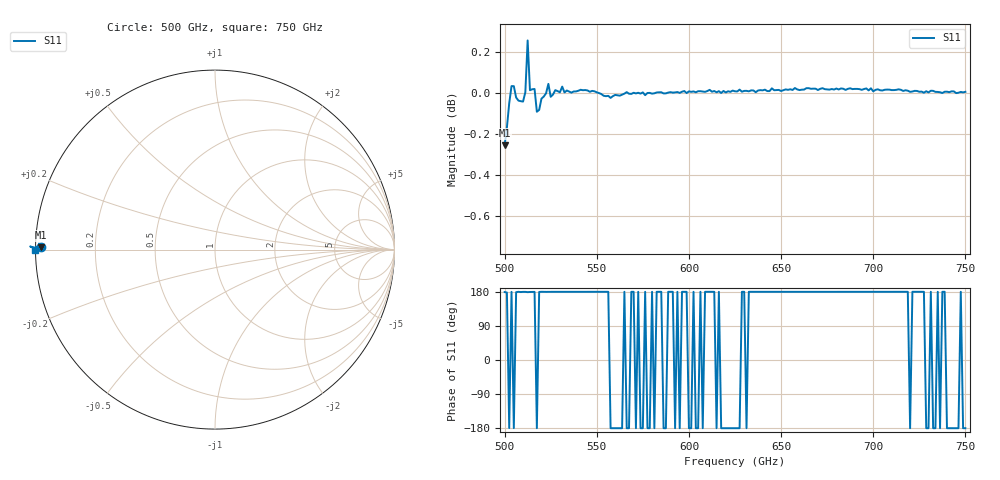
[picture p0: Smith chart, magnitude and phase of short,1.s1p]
!Created with mwavepy.
# GHz S RI R 50.0
!freq	ReS11	ImS11
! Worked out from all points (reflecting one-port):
!   201 points, 500 GHz to 750 GHz, reference 50 ohm
!   lowest |S11| = -0.3 dB at 500 GHz (marker M1), VSWR 68.25, Z = 0.733 + j0.342 ohm
!   phase of S11 starts at 179 deg and turns +1 deg over the sweep
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500  -0.971 0.0133
! Port Impedance 50.00000000000000 0.00000000000000
501.25  -0.9803 0.0334
502.5  -0.9942 -0.0081
503.75  -1.004 0.00315
505  -1.004 -0.00359
506.25  -0.9973 0.018
507.5  -0.9958 0.000817
508.75  -0.9954 0.0121
510  -0.9952 0.00398
511.25  -1 0.00447
512.5  -1.03 0.0175
513.75  -1.002 0.00869
516.25  -1.002 0.00421
517.5  -0.9896 -0.00299
518.75  -0.9906 0.00749
520  -0.9969 0.000427
523.75  -1.005 0.00178
525  -0.9979 0.00442
531.25  -1.004 0.00576
532.5  -1 0.00294
552.5  -0.9994 0.0027
562.5  -0.9985 -0.00162
593.75  -1.001 0.000555
625  -1.001 -0.000203
656.25  -1.002 0.0019
687.5  -1.003 0.00118
718.75  -1.001 0.000573
750  -1.001 -0.000374
